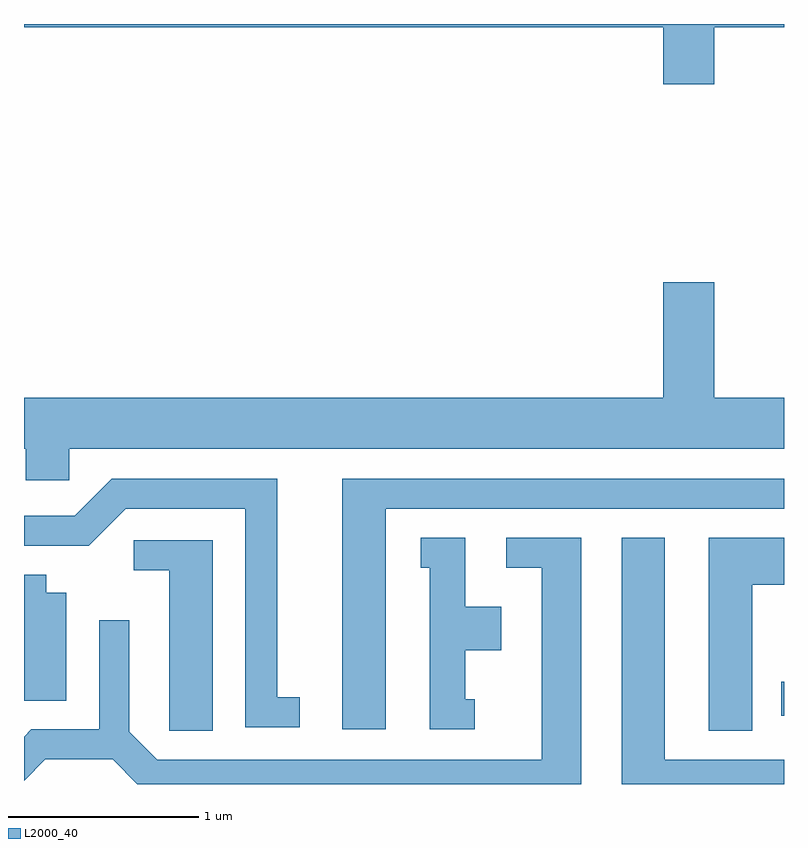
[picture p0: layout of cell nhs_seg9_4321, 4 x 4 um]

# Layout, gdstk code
import gdstk
lib = gdstk.Library(unit=1e-6, precision=1e-09)
def R(c, l, rs):  # rectangles x0, y0, x1, y1
    for r in rs: c.add(gdstk.rectangle(r[:2], r[2:], *l))
def P(c, l, *ps):  # polygons
    for p in ps: c.add(gdstk.Polygon(p, *l))
L2000_40 = (2000, 40)

nhs_seg9_4321 = lib.new_cell('nhs_seg9_4321')
R(nhs_seg9_4321, L2000_40, [(315.596,2054.791,315.611,2054.969)])
P(nhs_seg9_4321, L2000_40, [(315.244,2058.416),(315.611,2058.416),(315.611,2058.432),(311.611,2058.432),(311.611,2058.416),(314.976,2058.416),(314.976,2058.116),(315.244,2058.116)],
  [(314.976,2057.074),(314.976,2056.464),(311.611,2056.464),(311.611,2056.196),(311.621,2056.196),(311.621,2056.031),(311.849,2056.031),(311.849,2056.196),(315.611,2056.196),(315.611,2056.464),(315.244,2056.464),(315.244,2057.074)],
  [(313.063,2054.889),(312.944,2054.889),(312.944,2056.039),(312.074,2056.039),(311.879,2055.844),(311.611,2055.844),(311.611,2055.686),(311.952,2055.686),(312.147,2055.881),(312.776,2055.881),(312.776,2054.731),(313.063,2054.731)],
  [(313.514,2055.881),(315.611,2055.881),(315.611,2056.039),(313.286,2056.039),(313.286,2054.721),(313.514,2054.721)],
  [(315.444,2055.481),(315.611,2055.481),(315.611,2055.729),(315.216,2055.729),(315.216,2054.711),(315.444,2054.711)],
  [(315.611,2054.559),(314.984,2054.559),(314.984,2055.729),(314.756,2055.729),(314.756,2054.432),(315.611,2054.432)],
  [(313.983,2054.879),(313.934,2054.879),(313.934,2055.136),(314.124,2055.136),(314.124,2055.364),(313.934,2055.364),(313.934,2055.729),(313.698,2055.729),(313.698,2055.571),(313.746,2055.571),(313.746,2054.721),(313.983,2054.721)],
  [(314.544,2055.729),(314.148,2055.729),(314.148,2055.571),(314.336,2055.571),(314.336,2054.559),(312.312,2054.559),(312.164,2054.707),(312.164,2055.293),(312.006,2055.293),(312.006,2054.719),(311.649,2054.719),(311.611,2054.681),(311.611,2054.45),(311.722,2054.561),(312.079,2054.561),(312.208,2054.432),(314.544,2054.432)],
  [(312.604,2055.714),(312.188,2055.714),(312.188,2055.556),(312.376,2055.556),(312.376,2054.711),(312.604,2054.711)],
  [(311.834,2055.439),(311.729,2055.439),(311.729,2055.534),(311.611,2055.534),(311.611,2054.871),(311.834,2054.871)])

lib.write_gds('nhs_seg9_4321.gds')
